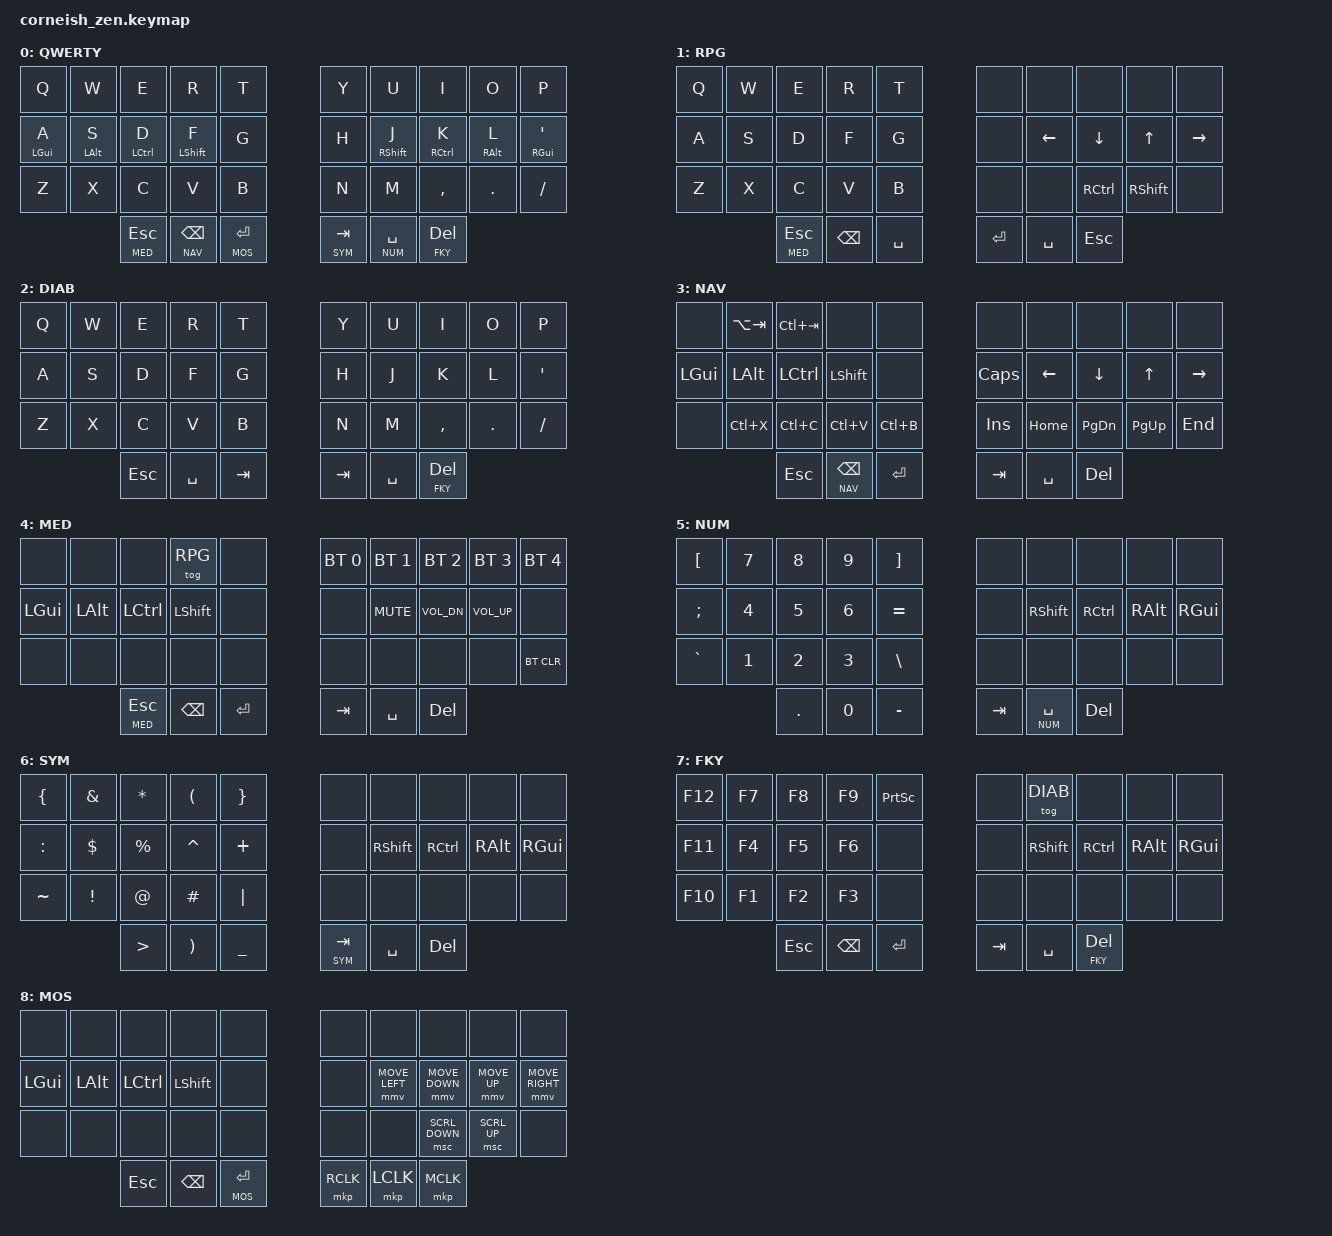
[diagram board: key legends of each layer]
#include <behaviors.dtsi>
#include <dt-bindings/zmk/keys.h>
#include <dt-bindings/zmk/bt.h>
#include <dt-bindings/zmk/pointing.h>

/ {
  chosen {
    //zmk,matrix_transform = &default_transform;
    zmk,matrix_transform = &five_column_transform;
  };
};

#define QWERTY 0
#define RPG 1
#define DIAB 2
#define NAV 3
#define MED 4
#define NUM 5
#define SYM 6
#define FKY 7
#define MOS 8
#define LEFT_KEYS 0 1 2 3 4 10 11 12 13 14 20 21 22 23 24
#define RIGHT_KEYS 5 6 7 8 9 15 16 17 18 19 25 26 27 28 29 21 22 23 // include cut/copy/paste so those remain fast
#define THUMB_KEYS 30 31 32 33 34 35

/ {
    behaviors {
        lhm: left_homerow_mods {
            compatible = "zmk,behavior-hold-tap";
            label = "LEFT_HOMEROW_MODS";
            #binding-cells = <2>;
            flavor = "balanced";
            tapping-term-ms = <280>;
            quick-tap-ms = <175>;                // repeat on tap-into-hold
            require-prior-idle-ms = <150>;
            bindings = <&kp>, <&kp>;
            hold-trigger-key-positions = <RIGHT_KEYS THUMB_KEYS>;
            hold-trigger-on-release;
        };

        lhs: left_homerow_shift {
            compatible = "zmk,behavior-hold-tap";
            label = "LEFT_HOMEROW_SHIFT";
            #binding-cells = <2>;
            flavor = "tap-preferred";
            tapping-term-ms = <150>;
            quick-tap-ms = <0>;
            bindings = <&kp>, <&kp>;
            hold-trigger-key-positions = <RIGHT_KEYS THUMB_KEYS>;
            hold-trigger-on-release;
        };

        rhm: right_homerow_mods {
            compatible = "zmk,behavior-hold-tap";
            label = "RIGHT_HOMEROW_MODS";
            #binding-cells = <2>;
            flavor = "balanced";
            tapping-term-ms = <280>;
            quick-tap-ms = <175>;                // repeat on tap-into-hold
            require-prior-idle-ms = <150>;
            bindings = <&kp>, <&kp>;
            hold-trigger-key-positions = <LEFT_KEYS THUMB_KEYS>;
            hold-trigger-on-release;
        }; 

        rhs: right_homerow_shift {
            compatible = "zmk,behavior-hold-tap";
            label = "RIGHT_HOMEROW_SHIFT";
            #binding-cells = <2>;
            flavor = "tap-preferred";
            tapping-term-ms = <150>;
            quick-tap-ms = <0>;
            bindings = <&kp>, <&kp>;
            hold-trigger-key-positions = <LEFT_KEYS THUMB_KEYS>;
            hold-trigger-on-release;
        }; 

    };
    
        keymap {
                compatible = "zmk,keymap";

                default_layer {
                        label = "QWERTY";
                        bindings = <
   &kp Q       &kp W       &kp E        &kp R         &kp T    &kp Y &kp U         &kp I          &kp O         &kp P          
   &lhm LGUI A &lhm LALT S &lhm LCTRL D &lhs LSHIFT F &kp G    &kp H &rhs RSHIFT J &rhm RCTRL K   &rhm RALT L   &rhm RGUI QUOT 
   &kp Z       &kp X       &kp C        &kp V         &kp B    &kp N &kp M         &kp CMMA       &kp DOT       &kp FSLH      
                           &lt MED ESC &lt NAV BKSP &lt MOS ENTER        &lt SYM TAB &lt NUM SPACE &lt FKY DEL
                        >;
                };

                rpg_layer {
                        label = "RPG";
                        bindings = <
   &kp Q      &kp W      &kp E      &kp R        &kp T    &none    &none       &none       &none      &none    
   &kp A      &kp S      &kp D      &kp F        &kp G    &none    &kp LEFT    &kp DOWN    &kp UP     &kp RIGHT 
   &kp Z      &kp X      &kp C      &kp V        &kp B    &none    &none       &kp RCTRL   &kp RSHIFT &none   
                  &lt MED ESC &kp BKSP &kp SPACE                &kp ENTER &kp SPACE &kp ESC
                       >;
                };
                
                
                diab_layer {
                        label = "DIAB";
                        bindings = <
   &kp Q     &kp W     &kp E     &kp R       &kp T   &kp Y   &kp U        &kp I         &kp O        &kp P    
   &kp A     &kp S     &kp D     &kp F       &kp G   &kp H   &kp J        &kp K         &kp L        &kp QUOT 
   &kp Z     &kp X     &kp C     &kp V       &kp B   &kp N   &kp M        &kp CMMA      &kp DOT      &kp FSLH 
                        &kp ESC &kp SPACE &kp TAB                  &kp TAB &kp SPACE &lt FKY DEL
                        >;
                };

                nav_layer {
                        label = "NAV";
                        bindings = <
   &none      &kp LA(TAB) &kp LC(TAB)  &none        &none       &none    &none       &none       &none     &none     
   &kp LGUI   &kp LALT    &kp LCTRL    &kp LSHIFT   &none       &kp CAPS &kp LEFT    &kp DOWN    &kp UP    &kp RIGHT
   &none      &kp LC(X)   &kp LC(C)    &kp LC(V)    &kp LC(B)   &kp INS  &kp HOME    &kp PG_DN   &kp PG_UP &kp END  
                     &kp ESC &lt NAV BKSP &kp ENTER                &kp TAB &kp SPACE &kp DEL
                       >;
                };

                med_layer {
                        label = "MED";
                        bindings = <
   &none      &none      &none      &tog RPG     &none    &bt BT_SEL 0 &bt BT_SEL 1 &bt BT_SEL 2   &bt BT_SEL 3   &bt BT_SEL 4 
   &kp LGUI   &kp LALT   &kp LCTRL  &kp LSHIFT   &none    &none        &kp C_MUTE   &kp C_VOL_DN   &kp C_VOL_UP   &none        
   &none      &none      &none      &none        &none    &none        &none        &none          &none          &bt BT_CLR  
                  &lt MED ESC &kp BKSP &kp ENTER                &kp TAB &kp SPACE &kp DEL
                       >;
                };

                num_layer {
                        label = "NUM";
                        bindings = < 
   &kp LBKT   &kp N7     &kp N8     &kp N9       &kp RBKT    &none    &none       &none       &none     &none    
   &kp SEMI   &kp N4     &kp N5     &kp N6       &kp EQUAL   &none    &kp RSHIFT  &kp RCTRL   &kp RALT  &kp RGUI 
   &kp GRAVE  &kp N1     &kp N2     &kp N3       &kp BSLH    &none    &none       &none       &none     &none    
                        &kp DOT &kp N0    &kp MINUS                &kp TAB &lt NUM SPACE &kp DEL
                        >;
                };

                sym_layer {
                        label = "SYM";
                        bindings = <
   &kp LBRC   &kp AMPS   &kp STAR   &kp LPAR     &kp RBRC    &none    &none       &none       &none     &none   
   &kp COLON  &kp DLLR   &kp PRCNT  &kp CARET    &kp PLUS    &none    &kp RSHIFT  &kp RCTRL   &kp RALT  &kp RGUI
   &kp TILDE  &kp EXCL   &kp AT     &kp HASH     &kp PIPE    &none    &none       &none       &none     &none   
                        &kp GT &kp RPAR   &kp UNDER                &lt SYM TAB &kp SPACE &kp DEL
                        >;
                };

                fkey_layer {
                        label = "FKY";
                        bindings = <
   &kp F12    &kp F7     &kp F8     &kp F9       &kp PSCRN   &none    &tog DIAB   &none       &none     &none   
   &kp F11    &kp F4     &kp F5     &kp F6       &none       &none    &kp RSHIFT  &kp RCTRL   &kp RALT  &kp RGUI
   &kp F10    &kp F1     &kp F2     &kp F3       &none       &none    &none       &none       &none     &none   
                        &kp ESC &kp BKSP &kp ENTER                 &kp TAB &kp SPACE &lt FKY DEL
                        >;
                };

                mouse_layer {
                        label = "MOS";
                        bindings = <
   &none      &none      &none      &none        &none    &none      &none          &none          &none        &none 
   &kp LGUI   &kp LALT   &kp LCTRL  &kp LSHIFT   &none    &none      &mmv MOVE_LEFT &mmv MOVE_DOWN &mmv MOVE_UP &mmv MOVE_RIGHT
   &none      &none      &none      &none        &none    &none      &none          &msc SCRL_DOWN &msc SCRL_UP &none 
                  &kp ESC &kp BKSP &lt MOS ENTER                &mkp RCLK &mkp LCLK &mkp MCLK
                        >;
                };         
              
        };
};
